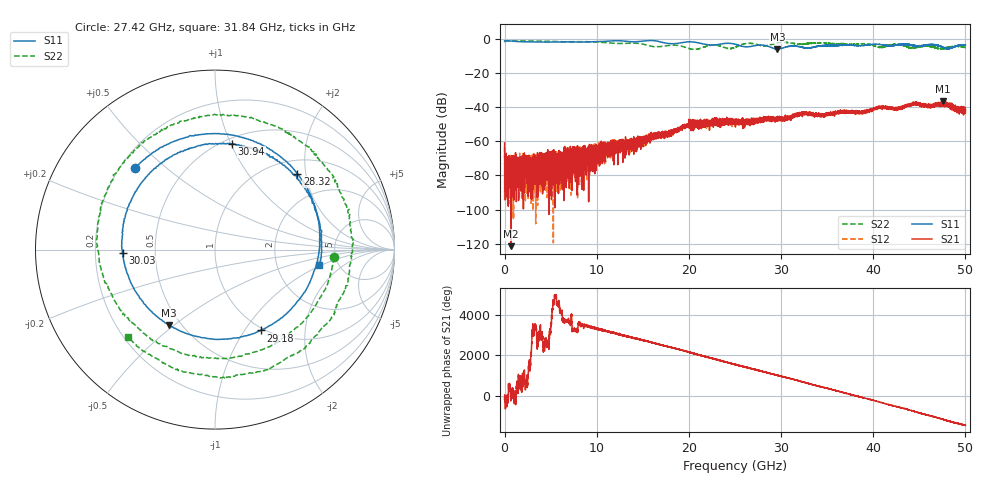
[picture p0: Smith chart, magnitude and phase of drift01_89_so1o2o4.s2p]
!Created with skrf (http://scikit-rf.org).
# Hz S RI R 50.0
!freq ReS11 ImS11 ReS21 ImS21 ReS12 ImS12 ReS22 ImS22
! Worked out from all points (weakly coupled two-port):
!   10001 points, 300 kHz to 50 GHz, reference 50 ohm
!   highest |S21| = -36.66 dB at 47.59 GHz (marker M1); lowest = -121.4 dB at 720.3 MHz (marker M2)
!   lowest |S11| = -6.2 dB at 29.61 GHz (marker M3), VSWR 2.93, Z = 21.7 - j24 ohm
!   |S11| at or under -10 dB: nowhere
!   |S22| runs from -6.5 to -1.4 dB; largest |S21 - S12| = 0.0034
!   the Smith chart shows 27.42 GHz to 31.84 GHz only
!   S11 on the Smith chart (normalised r, x): 27.42 GHz: 0.26, +0.40; 28.32 GHz: 1.30, +1.79; 29.18 GHz: 0.97, -1.19; 30.03 GHz: 0.32, -0.02; 30.94 GHz: 0.55, +1.01; 31.84 GHz: 3.60, -0.93
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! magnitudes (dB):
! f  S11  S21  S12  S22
! 300 kHz  -1.3  -61.0  -63.2  -2.2
! 260.3 MHz  -1.4  -73.6  -79.9  -1.4
! 720.3 MHz  -1.5  -121.4  -87.3  -1.5
! 3.62 GHz  -2.0  -81.9  -72.1  -1.5
! 6.345 GHz  -1.9  -69.1  -83.6  -1.9
! 8.335 GHz  -2.0  -68.6  -67.1  -1.8
! 10.61 GHz  -1.7  -64.9  -63.8  -2.2
! 16.67 GHz  -1.6  -57.9  -57.5  -4.8
! 20.23 GHz  -1.9  -53.8  -50.3  -6.1
! 22.62 GHz  -3.8  -49.5  -48.9  -3.8
! 25 GHz  -3.3  -48.9  -48.2  -5.1
! 27.42 GHz  -3.9  -48.8  -47.9  -3.5
! 28.32 GHz  -4.1  -46.7  -48.0  -4.3
! 29.18 GHz  -5.7  -46.4  -46.2  -3.1
! 29.61 GHz  -6.2  -47.3  -46.5  -2.5
! 30.03 GHz  -5.8  -46.8  -46.6  -2.4
! 30.94 GHz  -4.5  -45.8  -45.9  -2.5
! 31.84 GHz  -4.6  -45.1  -44.2  -3.3
! 33.34 GHz  -5.3  -43.5  -44.0  -2.7
! 41.67 GHz  -4.3  -40.0  -40.6  -4.2
! 47.59 GHz  -5.1  -36.7  -38.1  -5.7
! 50 GHz  -3.9  -41.8  -43.7  -5.3
